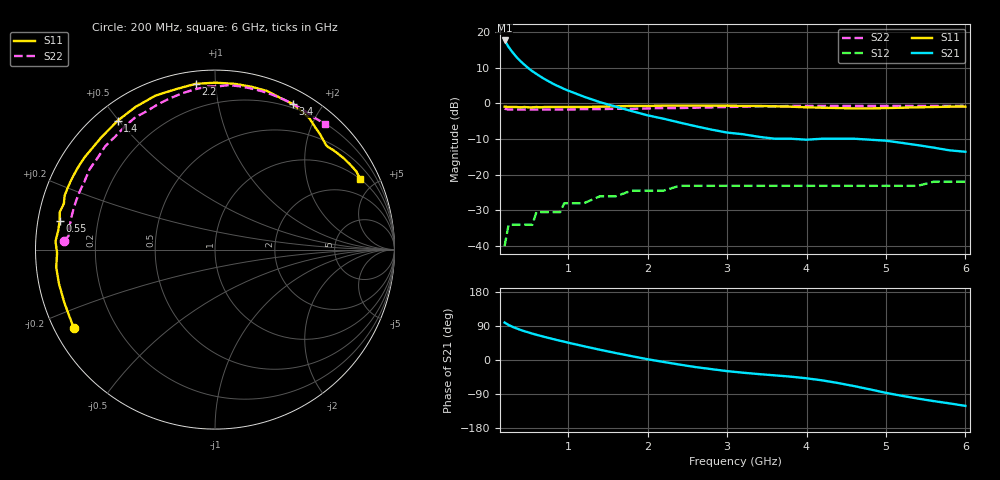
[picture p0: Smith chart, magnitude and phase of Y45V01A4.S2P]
! SIEMENS Small Signal Semiconductors
! CLY15
! GaAs Power FET in SOT223
! VDS = 5 V  ID = 1.4 A
! Common Source S-Parameters:  May  1996
# GHz  S  MA  R  50
!  f  S11  S21  S12  S22
! GHz  MAG  ANG  MAG  ANG  MAG  ANG  MAG  ANG
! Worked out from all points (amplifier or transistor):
!   42 points, 200 MHz to 6 GHz, reference 50 ohm
!   highest |S21| = 17.6 dB at 200 MHz (marker M1)
!   |S21| within 3 dB of that: start of sweep to 289.3 MHz
!   unconditionally stable (mu >= 1): 391.8 MHz to end of sweep
!   at 550 MHz: K = 1.25, MAG = 18.5 dB, |S12| = -34.0 dB
!   at 2 GHz: K = 1.22, MAG = 7.7 dB, |S12| = -24.4 dB
!   at 6 GHz: K = 1.06, MAG = 2.7 dB, |S12| = -21.9 dB
!   S11 on the Smith chart (normalised r, x): 200 MHz: 0.06, -0.26; 550 MHz: 0.06, +0.09; 1.4 GHz: 0.07, +0.50; 2.2 GHz: 0.06, +0.89; 3.4 GHz: 0.16, +1.66; 6 GHz: 0.99, +4.11
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0.2  0.9 -151.1  7.61 98.8  0.01 46.5  0.84 176.7
0.25  0.89 -160.6  6.18 92.4  0.02 43.4  0.82 174.7
0.3  0.89 -167.8  5.19 87.5  0.02 46.5  0.82 172.9
0.35  0.89 -173.7  4.45 83.3  0.02 46.0  0.82 171.8
0.4  0.88 -178.7  3.9 79.4  0.02 46.5  0.82 169.7
0.45  0.89 177.0  3.47 75.9  0.02 47.3  0.82 168.3
0.55  0.88 169.6  2.82 69.5  0.02 47.8  0.82 165.5
0.6  0.89 166.4  2.59 66.6  0.03 47.4  0.82 163.9
0.7  0.89 160.3  2.2 61.1  0.03 46.5  0.82 161.0
0.85  0.89 152.1  1.79 53.2  0.03 44.8  0.82 156.8
0.9  0.89 149.7  1.69 50.7  0.03 43.9  0.82 155.4
0.95  0.89 147.1  1.59 48.4  0.04 42.7  0.82 154.1
1.2  0.89 135.5  1.24 36.2  0.04 37.8  0.83 147.3
1.4  0.9 127.1  1.04 27.1  0.05 32.2  0.83 141.9
1.8  0.92 111.1  0.78 10.1  0.06 22.5  0.84 131.6
2.2  0.93 96.6  0.61 -5.1  0.06 12.5  0.86 121.3
2.4  0.93 89.8  0.54 -12.0  0.07 7.3  0.86 116.1
3.2  0.92 66.6  0.37 -33.5  0.07 -12.1  0.9 97.2
3.4  0.92 61.8  0.34 -37.2  0.07 -16.8  0.91 92.5
4.2  0.87 47.8  0.32 -53.8  0.07 -31.5  0.92 78.1
5.2  0.87 37.7  0.28 -94.5  0.07 -41.6  0.92 63.1
6  0.9 26.0  0.21 -121.1  0.08 -54.0  0.93 49.0
